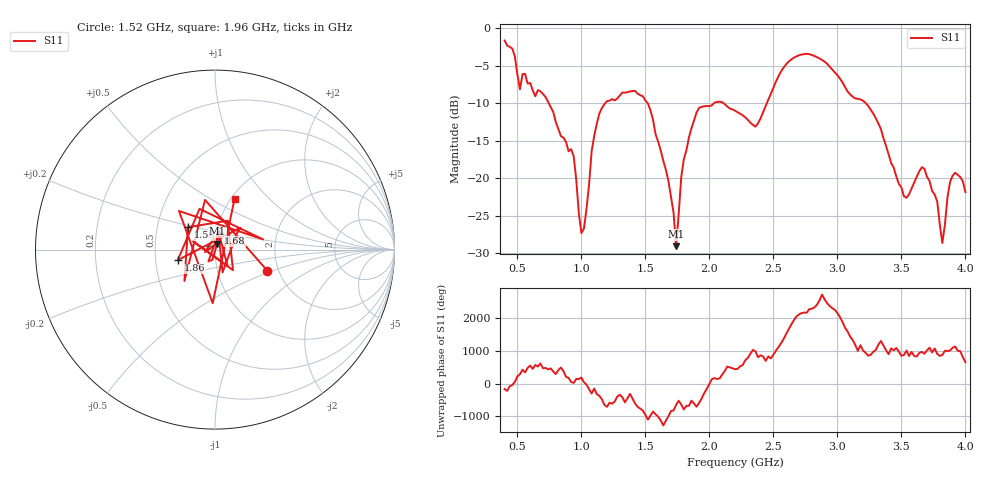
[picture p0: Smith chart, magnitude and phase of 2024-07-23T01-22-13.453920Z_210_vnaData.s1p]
!Created with skrf (http://scikit-rf.org).
# Hz S RI R 50.0
!freq ReS11 ImS11
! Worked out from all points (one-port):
!   181 points, 400 MHz to 4 GHz, reference 50 ohm
!   lowest |S11| = -29.0 dB at 1.74 GHz (marker M1), VSWR 1.07, Z = 51.1 + j3.4 ohm
!   |S11| at or under -10 dB: 745 MHz to 1.187 GHz (441.8 MHz wide, 45.7 % of centre); 1.517 GHz to 2.036 GHz (518.6 MHz wide, 29.2 % of centre); 3.222 GHz to end of sweep (the widest 3 of 4)
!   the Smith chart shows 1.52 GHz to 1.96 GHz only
!   S11 on the Smith chart (normalised r, x): 1.52 GHz: 1.75, -0.45; 1.58 GHz: 0.72, +0.19; 1.68 GHz: 1.02, +0.19; 1.86 GHz: 0.65, -0.08; 1.96 GHz: 1.04, +0.64
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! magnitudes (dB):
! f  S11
! 400 MHz  -1.7
! 480 MHz  -3.8
! 520 MHz  -8.2
! 560 MHz  -6.1
! 860 MHz  -14.6
! 940 MHz  -17.1
! 1 GHz  -27.3
! 1.14 GHz  -11.4
! 1.3 GHz  -9.0
! 1.52 GHz  -10.1
! 1.58 GHz  -14.2
! 1.68 GHz  -20.4
! 1.74 GHz  -29.0
! 1.76 GHz  -24.8
! 1.8 GHz  -17.5
! 1.86 GHz  -13.3
! 1.96 GHz  -10.4
! 2.2 GHz  -11.0
! 2.36 GHz  -13.1
! 2.66 GHz  -3.9
! 3.1 GHz  -8.9
! 3.28 GHz  -11.4
! 3.56 GHz  -22.1
! 3.68 GHz  -18.7
! 3.78 GHz  -23.1
! 3.82 GHz  -28.6
! 3.9 GHz  -19.7
! 4 GHz  -21.8
